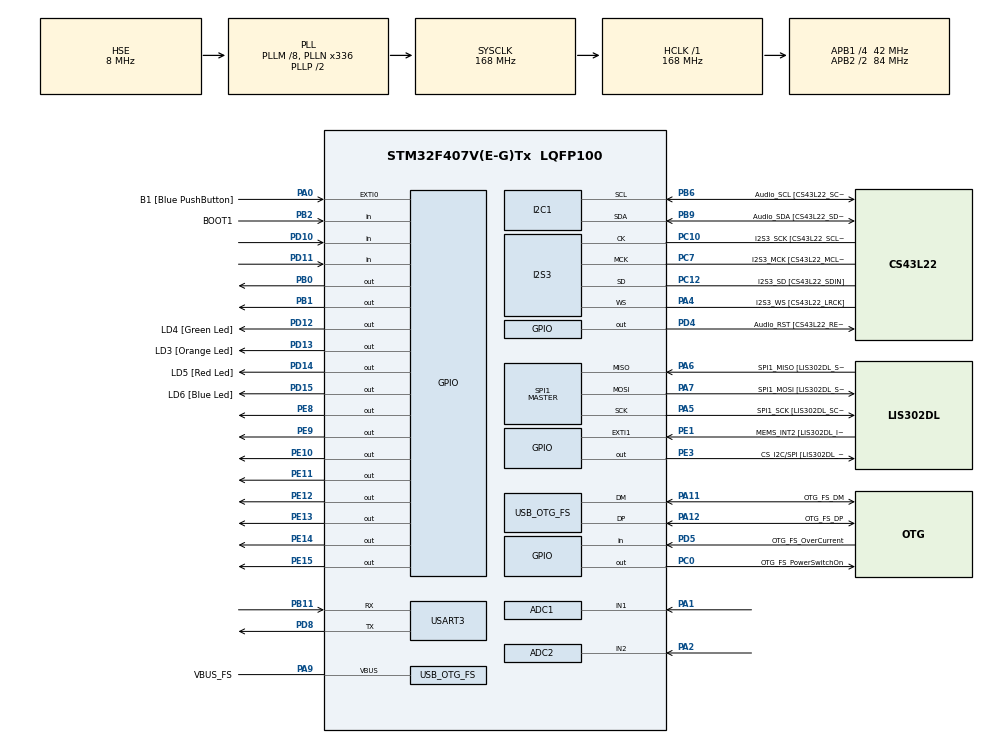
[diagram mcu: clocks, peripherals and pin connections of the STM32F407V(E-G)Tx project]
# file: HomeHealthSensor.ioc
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ADC1.Channel-0\#ChannelRegularConversion=ADC_CHANNEL_1
ADC1.NbrOfConversionFlag=1
ADC1.Rank-0\#ChannelRegularConversion=1
ADC1.SamplingTime-0\#ChannelRegularConversion=ADC_SAMPLETIME_3CYCLES
ADC1.master=1
ADC2.Channel-0\#ChannelRegularConversion=ADC_CHANNEL_2
ADC2.NbrOfConversionFlag=1
ADC2.Rank-0\#ChannelRegularConversion=1
ADC2.SamplingTime-0\#ChannelRegularConversion=ADC_SAMPLETIME_3CYCLES
I2S3.AudioFreq-Half_Duplex_Master=I2S_AUDIOFREQ_96K
I2S3.ErrorAudioFreq=-2.34 %
I2S3.ErrorAudioFreq-Half_Duplex_Master=0.8 %
I2S3.FullDuplexMode=I2S_FULLDUPLEXMODE_DISABLE
I2S3.Instance=SPI$Index
I2S3.RealAudioFreq=93.75 KHz
I2S3.RealAudioFreq-Half_Duplex_Master=96.774 KHz
I2S3.VirtualMode=I2S_MODE_MASTER
Mcu.Family=STM32F4
Mcu.Name=STM32F407V(E-G)Tx
Mcu.Package=LQFP100
NVIC.OTG_FS_IRQn=true\:0\:0\:false\:false\:true\:true\:true
NVIC.PriorityGroup=NVIC_PRIORITYGROUP_0
PA0-WKUP.GPIO_Label=B1 [Blue PushButton]
PA0-WKUP.GPIO_ModeDefaultEXTI=GPIO_MODE_EVT_RISING
PA0-WKUP.GPIO_PuPd=GPIO_NOPULL
PA0-WKUP.Signal=GPXTI0
PA1.Signal=ADCx_IN1
PA10.GPIO_Label=OTG_FS_ID
PA10.GPIO_Mode=GPIO_MODE_AF_PP
PA10.GPIO_PuPd=GPIO_NOPULL
PA10.GPIO_Speed=GPIO_SPEED_FREQ_LOW
PA10.Signal=USB_OTG_FS_ID
PA11.GPIO_Label=OTG_FS_DM
PA11.GPIO_Mode=GPIO_MODE_AF_PP
PA11.GPIO_PuPd=GPIO_NOPULL
PA11.GPIO_Speed=GPIO_SPEED_FREQ_LOW
PA11.Mode=Host_Only
PA11.Signal=USB_OTG_FS_DM
PA12.GPIO_Label=OTG_FS_DP
PA12.GPIO_Mode=GPIO_MODE_AF_PP
PA12.GPIO_PuPd=GPIO_NOPULL
PA12.GPIO_Speed=GPIO_SPEED_FREQ_LOW
PA12.Mode=Host_Only
PA12.Signal=USB_OTG_FS_DP
PA13.GPIO_Label=SWDIO
PA13.Mode=Serial_Wire
PA13.Signal=SYS_JTMS-SWDIO
PA14.GPIO_Label=SWCLK
PA14.Mode=Serial_Wire
PA14.Signal=SYS_JTCK-SWCLK
PA2.Signal=ADCx_IN2
PA4.GPIO_Label=I2S3_WS [CS43L22_LRCK]
PA4.GPIO_Mode=GPIO_MODE_AF_PP
PA4.GPIO_PuPd=GPIO_NOPULL
PA4.GPIO_Speed=GPIO_SPEED_FREQ_LOW
PA4.Mode=Half_Duplex_Master
PA4.Signal=I2S3_WS
PA5.GPIO_Label=SPI1_SCK [LIS302DL_SCL/SPC]
PA5.GPIO_Mode=GPIO_MODE_AF_PP
PA5.GPIO_PuPd=GPIO_NOPULL
PA5.GPIO_Speed=GPIO_SPEED_FREQ_LOW
PA5.Mode=Full_Duplex_Master
PA5.Signal=SPI1_SCK
PA6.GPIO_Label=SPI1_MISO [LIS302DL_SDO]
PA6.GPIO_Mode=GPIO_MODE_AF_PP
PA6.GPIO_PuPd=GPIO_NOPULL
PA6.GPIO_Speed=GPIO_SPEED_FREQ_LOW
PA6.Mode=Full_Duplex_Master
PA6.Signal=SPI1_MISO
PA7.GPIO_Label=SPI1_MOSI [LIS302DL_SDA/SDI/SDO]
PA7.GPIO_Mode=GPIO_MODE_AF_PP
PA7.GPIO_PuPd=GPIO_NOPULL
PA7.GPIO_Speed=GPIO_SPEED_FREQ_LOW
PA7.Mode=Full_Duplex_Master
PA7.Signal=SPI1_MOSI
PA9.GPIO_Label=VBUS_FS
PA9.GPIO_Mode=GPIO_MODE_INPUT
PA9.GPIO_PuPd=GPIO_NOPULL
PA9.Mode=Activate_VBUS
PA9.Signal=USB_OTG_FS_VBUS
PB0.Signal=GPIO_Output
PB1.Signal=GPIO_Output
PB10.GPIO_Label=CLK_IN [MP45DT02_CLK]
PB10.GPIO_Mode=GPIO_MODE_AF_PP
PB10.GPIO_PuPd=GPIO_NOPULL
PB10.GPIO_Speed=GPIO_SPEED_FREQ_LOW
PB10.Signal=I2S2_CK
PB11.Mode=Asynchronous
PB11.Signal=USART3_RX
PB2.GPIO_Label=BOOT1
PB2.GPIO_Mode=GPIO_MODE_INPUT
PB2.GPIO_PuPd=GPIO_NOPULL
PB2.Signal=GPIO_Input
PB3.GPIO_Label=SWO
PB3.Signal=SYS_JTDO-SWO
PB6.GPIO_Label=Audio_SCL [CS43L22_SCL]
PB6.GPIO_Mode=GPIO_MODE_AF_OD
PB6.GPIO_Pu=GPIO_PULLUP
PB6.GPIO_PuPd=GPIO_NOPULL
PB6.GPIO_Speed=GPIO_SPEED_FREQ_LOW
PB6.Mode=I2C
PB6.Signal=I2C1_SCL
PB9.GPIO_Label=Audio_SDA [CS43L22_SDA]
PB9.GPIO_Mode=GPIO_MODE_AF_OD
PB9.GPIO_Pu=GPIO_PULLUP
PB9.GPIO_PuPd=GPIO_NOPULL
PB9.GPIO_Speed=GPIO_SPEED_FREQ_LOW
PB9.Mode=I2C
PB9.Signal=I2C1_SDA
PC0.GPIO_Label=OTG_FS_PowerSwitchOn
PC0.GPIO_PuPd=GPIO_NOPULL
PC0.GPIO_Speed=GPIO_SPEED_FREQ_LOW
PC0.PinState=GPIO_PIN_SET
PC0.Signal=GPIO_Output
PC10.GPIO_Label=I2S3_SCK [CS43L22_SCLK]
PC10.GPIO_Mode=GPIO_MODE_AF_PP
PC10.GPIO_PuPd=GPIO_NOPULL
PC10.GPIO_Speed=GPIO_SPEED_FREQ_LOW
PC10.Mode=Half_Duplex_Master
PC10.Signal=I2S3_CK
PC12.GPIO_Label=I2S3_SD [CS43L22_SDIN]
PC12.GPIO_Mode=GPIO_MODE_AF_PP
PC12.GPIO_PuPd=GPIO_NOPULL
PC12.GPIO_Speed=GPIO_SPEED_FREQ_LOW
PC12.Mode=Half_Duplex_Master
PC12.Signal=I2S3_SD
PC14-OSC32_IN.GPIO_Label=PC14-OSC32_IN
PC14-OSC32_IN.Mode=LSE-External-Oscillator
PC14-OSC32_IN.Signal=RCC_OSC32_IN
PC15-OSC32_OUT.GPIO_Label=PC15-OSC32_OUT
PC15-OSC32_OUT.Mode=LSE-External-Oscillator
PC15-OSC32_OUT.Signal=RCC_OSC32_OUT
PC3.GPIO_Label=PDM_OUT [MP45DT02_DOUT]
PC3.GPIO_Mode=GPIO_MODE_AF_PP
PC3.GPIO_PuPd=GPIO_NOPULL
PC3.GPIO_Speed=GPIO_SPEED_FREQ_LOW
PC3.Signal=I2S2_SD
PC7.GPIO_Label=I2S3_MCK [CS43L22_MCLK]
PC7.GPIO_Mode=GPIO_MODE_AF_PP
PC7.GPIO_PuPd=GPIO_NOPULL
PC7.GPIO_Speed=GPIO_SPEED_FREQ_LOW
PC7.Mode=Master_Clock_Activated
PC7.Signal=I2S3_MCK
PD10.Signal=GPIO_Input
PD11.Signal=GPIO_Input
PD12.GPIO_Label=LD4 [Green Led]
PD12.GPIO_PuPd=GPIO_NOPULL
PD12.GPIO_Speed=GPIO_SPEED_FREQ_LOW
PD12.Signal=GPIO_Output
PD13.GPIO_Label=LD3 [Orange Led]
PD13.GPIO_PuPd=GPIO_NOPULL
PD13.GPIO_Speed=GPIO_SPEED_FREQ_LOW
PD13.Signal=GPIO_Output
PD14.GPIO_Label=LD5 [Red Led]
PD14.GPIO_PuPd=GPIO_NOPULL
PD14.GPIO_Speed=GPIO_SPEED_FREQ_LOW
PD14.Signal=GPIO_Output
PD15.GPIO_Label=LD6 [Blue Led]
PD15.GPIO_PuPd=GPIO_NOPULL
PD15.GPIO_Speed=GPIO_SPEED_FREQ_LOW
PD15.Signal=GPIO_Output
PD4.GPIO_Label=Audio_RST [CS43L22_RESET]
PD4.GPIO_PuPd=GPIO_NOPULL
PD4.GPIO_Speed=GPIO_SPEED_FREQ_LOW
PD4.Signal=GPIO_Output
PD5.GPIO_Label=OTG_FS_OverCurrent
PD5.GPIO_Mode=GPIO_MODE_INPUT
PD5.GPIO_PuPd=GPIO_NOPULL
PD5.Signal=GPIO_Input
PD8.Mode=Asynchronous
PD8.Signal=USART3_TX
PE1.GPIO_Label=MEMS_INT2 [LIS302DL_INT2]
PE1.GPIO_ModeDefaultEXTI=GPIO_MODE_EVT_RISING
PE1.GPIO_PuPd=GPIO_NOPULL
PE1.Signal=GPXTI1
PE10.Signal=GPIO_Output
PE11.Signal=GPIO_Output
PE12.Signal=GPIO_Output
PE13.Signal=GPIO_Output
PE14.Signal=GPIO_Output
PE15.Signal=GPIO_Output
PE3.GPIO_Label=CS_I2C/SPI [LIS302DL_CS_I2C/SPI]
PE3.GPIO_PuPd=GPIO_NOPULL
PE3.GPIO_Speed=GPIO_SPEED_FREQ_LOW
PE3.Signal=GPIO_Output
PE8.Signal=GPIO_Output
PE9.Signal=GPIO_Output
PH0-OSC_IN.GPIO_Label=PH0-OSC_IN
PH0-OSC_IN.Mode=HSE-External-Oscillator
PH0-OSC_IN.Signal=RCC_OSC_IN
PH1-OSC_OUT.GPIO_Label=PH1-OSC_OUT
PH1-OSC_OUT.Mode=HSE-External-Oscillator
PH1-OSC_OUT.Signal=RCC_OSC_OUT
ProjectManager.HeapSize=0x200
ProjectManager.StackSize=0x400
ProjectManager.TargetToolchain=STM32CubeIDE
RCC.48MHZClocksFreq_Value=48000000
RCC.AHBFreq_Value=168000000
RCC.APB1CLKDivider=RCC_HCLK_DIV4
RCC.APB1Freq_Value=42000000
RCC.APB1TimFreq_Value=84000000
RCC.APB2CLKDivider=RCC_HCLK_DIV2
RCC.APB2Freq_Value=84000000
RCC.APB2TimFreq_Value=168000000
RCC.CortexFreq_Value=168000000
RCC.HCLKFreq_Value=168000000
RCC.HSE_VALUE=8000000
RCC.HSI_VALUE=16000000
RCC.PLLM=8
RCC.PLLN=336
RCC.PLLQ=7
RCC.SYSCLKFreq_VALUE=168000000
RCC.SYSCLKSource=RCC_SYSCLKSOURCE_PLLCLK
RCC.VCOOutputFreq_Value=336000000
SH.ADCx_IN1.0=ADC1_IN1,IN1
SH.ADCx_IN2.0=ADC2_IN2,IN2
SPI1.BaudRatePrescaler-Full_Duplex_Master=SPI_BAUDRATEPRESCALER_2
SPI1.CalculateBaudRate-Full_Duplex_Master=42.0 MBits/s
SPI1.Direction=SPI_DIRECTION_2LINES
SPI1.Mode=SPI_MODE_MASTER
SPI1.Mode-Full_Duplex_Master=SPI_MODE_MASTER
SPI1.VirtualType=VM_MASTER
USART3.VirtualMode=VM_ASYNC
USB_HOST.BSP.number=1
USB_HOST.USBH_HandleTypeDef-CDC_FS=hUsbHostFS
USB_HOST.VirtualModeFS=Cdc
USB_HOST0.BSP.STBoard=false
USB_HOST0.BSP.api=Unknown
USB_HOST0.BSP.i2caddr=0
USB_HOST0.BSP.i2creg=0
USB_HOST0.BSP.instance=PC0
USB_HOST0.BSP.ip=GPIO
USB_HOST0.BSP.mode=Output
USB_HOST0.BSP.name=Drive_VBUS_FS
USB_HOST0.BSP.solution=PC0
USB_OTG_FS.VirtualMode=Host_Only
USB_OTG_FS.phy_itface=HCD_PHY_EMBEDDED
VP_USB_HOST_VS_USB_HOST_CDC_FS.Mode=CDC_FS
board=STM32F407G-DISC1

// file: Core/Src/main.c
 USER CODE BEGIN Header */

 /* This is the main code that controls the function of the STM32 for
  * the product Home Health Station. This code communicates to the sensors
  * through the onboar ADCs in the STM32, specifically adc 1 and adc2.
  * The STM connects to user input through GPIO ports, and connects
  * to the Raspberry pi through UART Serial communication
  *
  *
  *
  *
  *   */

/**
  ******************************************************************************
  * @file           : main.c
  * @brief          : Main program body
  ******************************************************************************
  * @attention
  *
  * Copyright (c) 2022 STMicroelectronics.
  * All rights reserved.
  *
  * This software is licensed under terms that can be found in the LICENSE file
  * in the root directory of this software component.
  * If no LICENSE file comes with this software, it is provided AS-IS.
  *
  ******************************************************************************
  */
/* USER CODE END Header */
#include "main.h"
#include "usb_host.h"

/* USER CODE BEGIN Includes */
#include "lcd16x2.h"

/* USER CODE END Includes */

ADC_HandleTypeDef hadc1;
ADC_HandleTypeDef hadc2;

I2C_HandleTypeDef hi2c1;

I2S_HandleTypeDef hi2s3;

SPI_HandleTypeDef hspi1;

UART_HandleTypeDef huart3;

void SystemClock_Config(void);
static void MX_GPIO_Init(void);
static void MX_ADC1_Init(void);
static void MX_ADC2_Init(void);
static void MX_I2C1_Init(void);
static void MX_I2S3_Init(void);
static void MX_SPI1_Init(void);
static void MX_USART3_UART_Init(void);
void MX_USB_HOST_Process(void);

/* USER CODE BEGIN 0 */
GPIO_PinState buttonState1;
GPIO_PinState buttonState2;
uint8_t start_heartrate[1] = {100};
uint8_t start_EMG[1] = {101};
uint8_t idle[1] = {200};
uint8_t start_test_heartrate[1] = {201};
uint8_t start_test_EMG[1] = {201};
uint16_t heartRate;
uint16_t EMG;
uint8_t databuffer[8];
/* USER CODE END 0 */

int main(void)
{

  /* MCU Configuration--------------------------------------------------------*/

  /* Reset of all peripherals, Initializes the Flash interface and the Systick. */
  HAL_Init();

  /* Configure the system clock */
  SystemClock_Config();

  /* Initialize all configured peripherals */
  MX_GPIO_Init();
  MX_ADC1_Init();
  MX_ADC2_Init();
  MX_I2C1_Init();
  MX_I2S3_Init();
  MX_SPI1_Init();
  MX_USART3_UART_Init();
  MX_USB_HOST_Init();
  /* USER CODE BEGIN 2 */
  //Initialize the LCD to be able to display
  lcd16x2_init_8bits(GPIOB, GPIO_PIN_0, GPIO_PIN_1, GPIOE, GPIO_PIN_8, GPIO_PIN_9, GPIO_PIN_10, GPIO_PIN_11, GPIOE, GPIO_PIN_12, GPIO_PIN_13
		  , GPIO_PIN_14, GPIO_PIN_15);
  lcd16x2_clear();
  lcd16x2_clear();
  lcd16x2_printf("Home Health");
  HAL_Delay(1000);
  /* USER CODE END 2 */

  /* Infinite loop */
  /* USER CODE BEGIN WHILE */
  int i;

  while (1)
  {
    /* USER CODE END WHILE */
    MX_USB_HOST_Process();
    /* USER CODE BEGIN 3 */
    lcd16x2_clear();
    lcd16x2_printf("Home Health"); //Start up and idle message
    HAL_UART_Transmit(&huart3, idle, sizeof(idle), HAL_MAX_DELAY);
    buttonState1 = HAL_GPIO_ReadPin(GPIOD,GPIO_PIN_11); //=> Button is Pressed
    buttonState2 = HAL_GPIO_ReadPin(GPIOD,GPIO_PIN_10); //=> Button is Pressed
    HAL_Delay(500);

    //EMG test has been requested
    if(HAL_GPIO_ReadPin(GPIOD,GPIO_PIN_11) == GPIO_PIN_SET) {
    	lcd16x2_clear();
    	HAL_Delay(100);
    	lcd16x2_printf("EMG");
    	HAL_UART_Transmit(&huart3, start_test_EMG, sizeof(start_test_EMG), HAL_MAX_DELAY);
    	HAL_Delay(30);
		for(i = 0; i < 185; i++) {
			HAL_UART_Transmit(&huart3, start_EMG, sizeof(start_EMG), HAL_MAX_DELAY);
			HAL_Delay(30);
			HAL_ADC_Start(&hadc1);
			if(HAL_ADC_PollForConversion(&hadc1, 100) == HAL_OK)  { //check if adc2 has new data
				EMG = HAL_ADC_GetValue(&hadc1); //Check converted data for heart rate
				while(EMG)
				{
					databuffer[0] = EMG % 100;
					EMG /= 100;
					HAL_UART_Transmit(&huart3, databuffer, sizeof(databuffer), HAL_MAX_DELAY);
					HAL_Delay(30);
				}
			}
			HAL_ADC_Stop(&hadc1); //clear adc
		}
		lcd16x2_clear();
		HAL_Delay(100);
		lcd16x2_printf("Test Complete");
		HAL_Delay(1000);

		//Heart rate test has been started
    } else if (HAL_GPIO_ReadPin(GPIOD,GPIO_PIN_10) == GPIO_PIN_SET) {
    	lcd16x2_clear();
    	HAL_Delay(100);
    	lcd16x2_printf("Heart Rate");
    	HAL_UART_Transmit(&huart3, start_test_heartrate, sizeof(start_test_heartrate), HAL_MAX_DELAY);
    	HAL_Delay(30);
		for(i = 0; i < 200; i++) {
			HAL_UART_Transmit(&huart3, start_heartrate, sizeof(start_heartrate), HAL_MAX_DELAY);
			HAL_Delay(30);
			HAL_ADC_Start(&hadc2);
			if(HAL_ADC_PollForConversion(&hadc2, 100) == HAL_OK)  { //check if adc2 has new data
				heartRate = HAL_ADC_GetValue(&hadc2); //Check converted data for heart rate
				while(heartRate)
				{
					databuffer[0] = heartRate % 100;
					heartRate /= 100;
					HAL_UART_Transmit(&huart3, databuffer, sizeof(databuffer), HAL_MAX_DELAY);
					HAL_Delay(30);
				}
			}
			HAL_ADC_Stop(&hadc2); //clear adc
		}
		lcd16x2_clear();
		HAL_Delay(100);
		lcd16x2_printf("Test Complete");
		HAL_Delay(1000);
    }
  }
  /* USER CODE END 3 */
}

void SystemClock_Config(void)
{
  RCC_OscInitTypeDef RCC_OscInitStruct = {0};
  RCC_ClkInitTypeDef RCC_ClkInitStruct = {0};

  /** Configure the main internal regulator output voltage
  */
  __HAL_RCC_PWR_CLK_ENABLE();
  __HAL_PWR_VOLTAGESCALING_CONFIG(PWR_REGULATOR_VOLTAGE_SCALE1);
  /** Initializes the RCC Oscillators according to the specified parameters
  * in the RCC_OscInitTypeDef structure.
  */
  RCC_OscInitStruct.OscillatorType = RCC_OSCILLATORTYPE_HSE;
  RCC_OscInitStruct.HSEState = RCC_HSE_ON;
  RCC_OscInitStruct.PLL.PLLState = RCC_PLL_ON;
  RCC_OscInitStruct.PLL.PLLSource = RCC_PLLSOURCE_HSE;
  RCC_OscInitStruct.PLL.PLLM = 8;
  RCC_OscInitStruct.PLL.PLLN = 336;
  RCC_OscInitStruct.PLL.PLLP = RCC_PLLP_DIV2;
  RCC_OscInitStruct.PLL.PLLQ = 7;
  if (HAL_RCC_OscConfig(&RCC_OscInitStruct) != HAL_OK)
  {
    Error_Handler();
  }
  /** Initializes the CPU, AHB and APB buses clocks
  */
  RCC_ClkInitStruct.ClockType = RCC_CLOCKTYPE_HCLK|RCC_CLOCKTYPE_SYSCLK
                              |RCC_CLOCKTYPE_PCLK1|RCC_CLOCKTYPE_PCLK2;
  RCC_ClkInitStruct.SYSCLKSource = RCC_SYSCLKSOURCE_PLLCLK;
  RCC_ClkInitStruct.AHBCLKDivider = RCC_SYSCLK_DIV1;
  RCC_ClkInitStruct.APB1CLKDivider = RCC_HCLK_DIV4;
  RCC_ClkInitStruct.APB2CLKDivider = RCC_HCLK_DIV2;

  if (HAL_RCC_ClockConfig(&RCC_ClkInitStruct, FLASH_LATENCY_5) != HAL_OK)
  {
    Error_Handler();
  }
}

static void MX_ADC1_Init(void)
{

  ADC_ChannelConfTypeDef sConfig = {0};

  /** Configure the global features of the ADC (Clock, Resolution, Data Alignment and number of conversion)
  */
  hadc1.Instance = ADC1;
  hadc1.Init.ClockPrescaler = ADC_CLOCK_SYNC_PCLK_DIV4;
  hadc1.Init.Resolution = ADC_RESOLUTION_12B;
  hadc1.Init.ScanConvMode = DISABLE;
  hadc1.Init.ContinuousConvMode = DISABLE;
  hadc1.Init.DiscontinuousConvMode = DISABLE;
  hadc1.Init.ExternalTrigConvEdge = ADC_EXTERNALTRIGCONVEDGE_NONE;
  hadc1.Init.ExternalTrigConv = ADC_SOFTWARE_START;
  hadc1.Init.DataAlign = ADC_DATAALIGN_RIGHT;
  hadc1.Init.NbrOfConversion = 1;
  hadc1.Init.DMAContinuousRequests = DISABLE;
  hadc1.Init.EOCSelection = ADC_EOC_SINGLE_CONV;
  if (HAL_ADC_Init(&hadc1) != HAL_OK)
  {
    Error_Handler();
  }
  /** Configure for the selected ADC regular channel its corresponding rank in the sequencer and its sample time.
  */
  sConfig.Channel = ADC_CHANNEL_1;
  sConfig.Rank = 1;
  sConfig.SamplingTime = ADC_SAMPLETIME_3CYCLES;
  if (HAL_ADC_ConfigChannel(&hadc1, &sConfig) != HAL_OK)
  {
    Error_Handler();
  }

}

static void MX_ADC2_Init(void)
{

  ADC_ChannelConfTypeDef sConfig = {0};

  /** Configure the global features of the ADC (Clock, Resolution, Data Alignment and number of conversion)
  */
  hadc2.Instance = ADC2;
  hadc2.Init.ClockPrescaler = ADC_CLOCK_SYNC_PCLK_DIV4;
  hadc2.Init.Resolution = ADC_RESOLUTION_12B;
  hadc2.Init.ScanConvMode = DISABLE;
  hadc2.Init.ContinuousConvMode = DISABLE;
  hadc2.Init.DiscontinuousConvMode = DISABLE;
  hadc2.Init.ExternalTrigConvEdge = ADC_EXTERNALTRIGCONVEDGE_NONE;
  hadc2.Init.ExternalTrigConv = ADC_SOFTWARE_START;
  hadc2.Init.DataAlign = ADC_DATAALIGN_RIGHT;
  hadc2.Init.NbrOfConversion = 1;
  hadc2.Init.DMAContinuousRequests = DISABLE;
  hadc2.Init.EOCSelection = ADC_EOC_SINGLE_CONV;
  if (HAL_ADC_Init(&hadc2) != HAL_OK)
  {
    Error_Handler();
  }
  /** Configure for the selected ADC regular channel its corresponding rank in the sequencer and its sample time.
  */
  sConfig.Channel = ADC_CHANNEL_2;
  sConfig.Rank = 1;
  sConfig.SamplingTime = ADC_SAMPLETIME_3CYCLES;
  if (HAL_ADC_ConfigChannel(&hadc2, &sConfig) != HAL_OK)
  {
    Error_Handler();
  }

}

static void MX_I2C1_Init(void)
{

  hi2c1.Instance = I2C1;
  hi2c1.Init.ClockSpeed = 100000;
  hi2c1.Init.DutyCycle = I2C_DUTYCYCLE_2;
  hi2c1.Init.OwnAddress1 = 0;
  hi2c1.Init.AddressingMode = I2C_ADDRESSINGMODE_7BIT;
  hi2c1.Init.DualAddressMode = I2C_DUALADDRESS_DISABLE;
  hi2c1.Init.OwnAddress2 = 0;
  hi2c1.Init.GeneralCallMode = I2C_GENERALCALL_DISABLE;
  hi2c1.Init.NoStretchMode = I2C_NOSTRETCH_DISABLE;
  if (HAL_I2C_Init(&hi2c1) != HAL_OK)
  {
    Error_Handler();
  }

}

static void MX_I2S3_Init(void)
{

  hi2s3.Instance = SPI3;
  hi2s3.Init.Mode = I2S_MODE_MASTER_TX;
  hi2s3.Init.Standard = I2S_STANDARD_PHILIPS;
  hi2s3.Init.DataFormat = I2S_DATAFORMAT_16B;
  hi2s3.Init.MCLKOutput = I2S_MCLKOUTPUT_ENABLE;
  hi2s3.Init.AudioFreq = I2S_AUDIOFREQ_96K;
  hi2s3.Init.CPOL = I2S_CPOL_LOW;
  hi2s3.Init.ClockSource = I2S_CLOCK_PLL;
  hi2s3.Init.FullDuplexMode = I2S_FULLDUPLEXMODE_DISABLE;
  if (HAL_I2S_Init(&hi2s3) != HAL_OK)
  {
    Error_Handler();
  }

}

static void MX_SPI1_Init(void)
{

  /* SPI1 parameter configuration*/
  hspi1.Instance = SPI1;
  hspi1.Init.Mode = SPI_MODE_MASTER;
  hspi1.Init.Direction = SPI_DIRECTION_2LINES;
  hspi1.Init.DataSize = SPI_DATASIZE_8BIT;
  hspi1.Init.CLKPolarity = SPI_POLARITY_LOW;
  hspi1.Init.CLKPhase = SPI_PHASE_1EDGE;
  hspi1.Init.NSS = SPI_NSS_SOFT;
  hspi1.Init.BaudRatePrescaler = SPI_BAUDRATEPRESCALER_2;
  hspi1.Init.FirstBit = SPI_FIRSTBIT_MSB;
  hspi1.Init.TIMode = SPI_TIMODE_DISABLE;
  hspi1.Init.CRCCalculation = SPI_CRCCALCULATION_DISABLE;
  hspi1.Init.CRCPolynomial = 10;
  if (HAL_SPI_Init(&hspi1) != HAL_OK)
  {
    Error_Handler();
  }

}

static void MX_USART3_UART_Init(void)
{

  huart3.Instance = USART3;
  huart3.Init.BaudRate = 115200;
  huart3.Init.WordLength = UART_WORDLENGTH_8B;
  huart3.Init.StopBits = UART_STOPBITS_1;
  huart3.Init.Parity = UART_PARITY_NONE;
  huart3.Init.Mode = UART_MODE_TX_RX;
  huart3.Init.HwFlowCtl = UART_HWCONTROL_NONE;
  huart3.Init.OverSampling = UART_OVERSAMPLING_16;
  if (HAL_UART_Init(&huart3) != HAL_OK)
  {
    Error_Handler();
  }

}

static void MX_GPIO_Init(void)
{
  GPIO_InitTypeDef GPIO_InitStruct = {0};

  /* GPIO Ports Clock Enable */
  __HAL_RCC_GPIOE_CLK_ENABLE();
  __HAL_RCC_GPIOC_CLK_ENABLE();
  __HAL_RCC_GPIOH_CLK_ENABLE();
  __HAL_RCC_GPIOA_CLK_ENABLE();
  __HAL_RCC_GPIOB_CLK_ENABLE();
  __HAL_RCC_GPIOD_CLK_ENABLE();

  /*Configure GPIO pin Output Level */
  HAL_GPIO_WritePin(GPIOE, CS_I2C_SPI_Pin|GPIO_PIN_8|GPIO_PIN_9|GPIO_PIN_10
                          |GPIO_PIN_11|GPIO_PIN_12|GPIO_PIN_13|GPIO_PIN_14
                          |GPIO_PIN_15, GPIO_PIN_RESET);

  /*Configure GPIO pin Output Level */
  HAL_GPIO_WritePin(OTG_FS_PowerSwitchOn_GPIO_Port, OTG_FS_PowerSwitchOn_Pin, GPIO_PIN_SET);

  /*Configure GPIO pin Output Level */
  HAL_GPIO_WritePin(GPIOB, GPIO_PIN_0|GPIO_PIN_1, GPIO_PIN_RESET);

  /*Configure GPIO pin Output Level */
  HAL_GPIO_WritePin(GPIOD, LD4_Pin|LD3_Pin|LD5_Pin|LD6_Pin
                          |Audio_RST_Pin, GPIO_PIN_RESET);

  /*Configure GPIO pins : CS_I2C_SPI_Pin PE8 PE9 PE10
                           PE11 PE12 PE13 PE14
                           PE15 */
  GPIO_InitStruct.Pin = CS_I2C_SPI_Pin|GPIO_PIN_8|GPIO_PIN_9|GPIO_PIN_10
                          |GPIO_PIN_11|GPIO_PIN_12|GPIO_PIN_13|GPIO_PIN_14
                          |GPIO_PIN_15;
  GPIO_InitStruct.Mode = GPIO_MODE_OUTPUT_PP;
  GPIO_InitStruct.Pull = GPIO_NOPULL;
  GPIO_InitStruct.Speed = GPIO_SPEED_FREQ_LOW;
  HAL_GPIO_Init(GPIOE, &GPIO_InitStruct);

  /*Configure GPIO pin : OTG_FS_PowerSwitchOn_Pin */
  GPIO_InitStruct.Pin = OTG_FS_PowerSwitchOn_Pin;
  GPIO_InitStruct.Mode = GPIO_MODE_OUTPUT_PP;
  GPIO_InitStruct.Pull = GPIO_NOPULL;
  GPIO_InitStruct.Speed = GPIO_SPEED_FREQ_LOW;
  HAL_GPIO_Init(OTG_FS_PowerSwitchOn_GPIO_Port, &GPIO_InitStruct);

  /*Configure GPIO pin : PDM_OUT_Pin */
  GPIO_InitStruct.Pin = PDM_OUT_Pin;
  GPIO_InitStruct.Mode = GPIO_MODE_AF_PP;
  GPIO_InitStruct.Pull = GPIO_NOPULL;
  GPIO_InitStruct.Speed = GPIO_SPEED_FREQ_LOW;
  GPIO_InitStruct.Alternate = GPIO_AF5_SPI2;
  HAL_GPIO_Init(PDM_OUT_GPIO_Port, &GPIO_InitStruct);

  /*Configure GPIO pin : B1_Pin */
  GPIO_InitStruct.Pin = B1_Pin;
  GPIO_InitStruct.Mode = GPIO_MODE_EVT_RISING;
  GPIO_InitStruct.Pull = GPIO_NOPULL;
  HAL_GPIO_Init(B1_GPIO_Port, &GPIO_InitStruct);

  /*Configure GPIO pins : PB0 PB1 */
  GPIO_InitStruct.Pin = GPIO_PIN_0|GPIO_PIN_1;
  GPIO_InitStruct.Mode = GPIO_MODE_OUTPUT_PP;
  GPIO_InitStruct.Pull = GPIO_NOPULL;
  GPIO_InitStruct.Speed = GPIO_SPEED_FREQ_LOW;
  HAL_GPIO_Init(GPIOB, &GPIO_InitStruct);

  /*Configure GPIO pin : BOOT1_Pin */
  GPIO_InitStruct.Pin = BOOT1_Pin;
  GPIO_InitStruct.Mode = GPIO_MODE_INPUT;
  GPIO_InitStruct.Pull = GPIO_NOPULL;
  HAL_GPIO_Init(BOOT1_GPIO_Port, &GPIO_InitStruct);

  /*Configure GPIO pin : CLK_IN_Pin */
  GPIO_InitStruct.Pin = CLK_IN_Pin;
  GPIO_InitStruct.Mode = GPIO_MODE_AF_PP;
  GPIO_InitStruct.Pull = GPIO_NOPULL;
  GPIO_InitStruct.Speed = GPIO_SPEED_FREQ_LOW;
  GPIO_InitStruct.Alternate = GPIO_AF5_SPI2;
  HAL_GPIO_Init(CLK_IN_GPIO_Port, &GPIO_InitStruct);

  /*Configure GPIO pins : PD10 PD11 OTG_FS_OverCurrent_Pin */
  GPIO_InitStruct.Pin = GPIO_PIN_10|GPIO_PIN_11|OTG_FS_OverCurrent_Pin;
  GPIO_InitStruct.Mode = GPIO_MODE_INPUT;
  GPIO_InitStruct.Pull = GPIO_NOPULL;
  HAL_GPIO_Init(GPIOD, &GPIO_InitStruct);

  /*Configure GPIO pins : LD4_Pin LD3_Pin LD5_Pin LD6_Pin
                           Audio_RST_Pin */
  GPIO_InitStruct.Pin = LD4_Pin|LD3_Pin|LD5_Pin|LD6_Pin
                          |Audio_RST_Pin;
  GPIO_InitStruct.Mode = GPIO_MODE_OUTPUT_PP;
  GPIO_InitStruct.Pull = GPIO_NOPULL;
  GPIO_InitStruct.Speed = GPIO_SPEED_FREQ_LOW;
  HAL_GPIO_Init(GPIOD, &GPIO_InitStruct);

  /*Configure GPIO pin : MEMS_INT2_Pin */
  GPIO_InitStruct.Pin = MEMS_INT2_Pin;
  GPIO_InitStruct.Mode = GPIO_MODE_EVT_RISING;
  GPIO_InitStruct.Pull = GPIO_NOPULL;
  HAL_GPIO_Init(MEMS_INT2_GPIO_Port, &GPIO_InitStruct);

}

void Error_Handler(void)
{
  __disable_irq();
  while (1)
  {
  }
}
